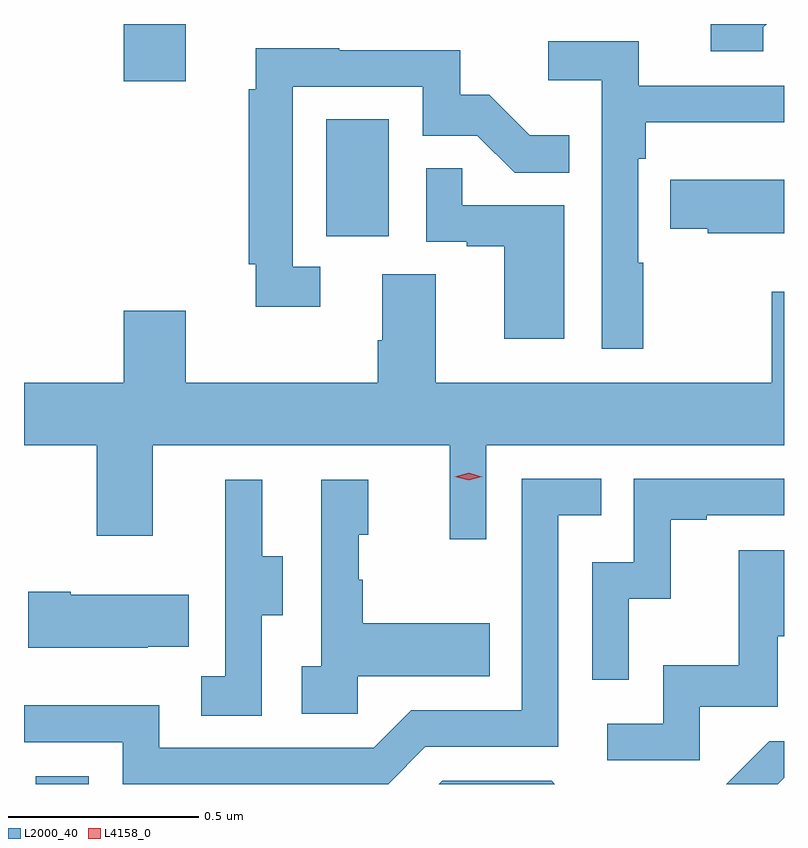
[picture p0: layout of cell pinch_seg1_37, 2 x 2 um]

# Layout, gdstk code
import gdstk
lib = gdstk.Library(unit=1e-6, precision=1e-09)
def R(c, l, rs):  # rectangles x0, y0, x1, y1
    for r in rs: c.add(gdstk.rectangle(r[:2], r[2:], *l))
def P(c, l, *ps):  # polygons
    for p in ps: c.add(gdstk.Polygon(p, *l))
L2000_40 = (2000, 40)
L4158_0 = (4158, 0)

pinch_seg1_37 = lib.new_cell('pinch_seg1_37')
R(pinch_seg1_37, L2000_40, [(1135.805,565.492,1135.944,565.512), (1136.57,566.934,1136.734,567.241), (1136.036,567.342,1136.2,567.492)])
P(pinch_seg1_37, L2000_40, [(1137.72,567.483),(1137.729,567.492),(1137.581,567.492),(1137.581,567.42),(1137.72,567.42)],
  [(1137.403,566.864),(1137.39,566.864),(1137.39,567.137),(1137.41,567.137),(1137.41,567.233),(1137.774,567.233),(1137.774,567.33),(1137.392,567.33),(1137.392,567.446),(1137.153,567.446),(1137.153,567.344),(1137.294,567.344),(1137.294,566.637),(1137.403,566.637)],
  [(1136.554,566.853),(1136.481,566.853),(1136.481,567.327),(1136.823,567.327),(1136.823,567.198),(1136.967,567.198),(1137.065,567.1),(1137.209,567.1),(1137.209,567.199),(1137.105,567.199),(1136.998,567.306),(1136.922,567.306),(1136.922,567.423),(1136.603,567.423),(1136.603,567.428),(1136.384,567.428),(1136.384,567.32),(1136.365,567.32),(1136.365,566.86),(1136.384,566.86),(1136.384,566.748),(1136.554,566.748)],
  [(1137.196,567.015),(1136.927,567.015),(1136.927,567.113),(1136.832,567.113),(1136.832,566.919),(1136.939,566.919),(1136.939,566.907),(1137.038,566.907),(1137.038,566.664),(1137.196,566.664)],
  [(1137.774,567.082),(1137.475,567.082),(1137.475,566.953),(1137.573,566.953),(1137.573,566.942),(1137.774,566.942)],
  [(1136.991,566.384),(1137.774,566.384),(1137.774,566.788),(1137.742,566.788),(1137.742,566.548),(1136.857,566.548),(1136.857,566.834),(1136.717,566.834),(1136.717,566.66),(1136.705,566.66),(1136.705,566.548),(1136.2,566.548),(1136.2,566.737),(1136.036,566.737),(1136.036,566.548),(1135.774,566.548),(1135.774,566.384),(1135.966,566.384),(1135.966,566.145),(1136.113,566.145),(1136.113,566.384),(1136.894,566.384),(1136.894,566.136),(1136.991,566.136)],
  [(1137.366,565.979),(1137.476,565.979),(1137.476,566.187),(1137.571,566.187),(1137.571,566.199),(1137.774,566.199),(1137.774,566.295),(1137.378,566.295),(1137.378,566.076),(1137.27,566.076),(1137.27,565.767),(1137.366,565.767)],
  [(1136.83,565.59),(1137.18,565.59),(1137.18,566.199),(1137.293,566.199),(1137.293,566.295),(1137.084,566.295),(1137.084,565.686),(1136.793,565.686),(1136.694,565.587),(1136.13,565.587),(1136.13,565.699),(1135.774,565.699),(1135.774,565.602),(1136.034,565.602),(1136.034,565.492),(1136.732,565.492)],
  [(1136.4,565.936),(1136.455,565.936),(1136.455,566.091),(1136.401,566.091),(1136.401,566.293),(1136.303,566.293),(1136.303,566.079),(1136.304,566.079),(1136.304,565.775),(1136.241,565.775),(1136.241,565.672),(1136.4,565.672)],
  [(1136.652,565.775),(1136.999,565.775),(1136.999,565.915),(1136.665,565.915),(1136.665,566.03),(1136.655,566.03),(1136.655,566.148),(1136.68,566.148),(1136.68,566.293),(1136.556,566.293),(1136.556,565.802),(1136.505,565.802),(1136.505,565.677),(1136.652,565.677)],
  [(1137.552,565.695),(1137.757,565.695),(1137.757,565.881),(1137.774,565.881),(1137.774,566.107),(1137.655,566.107),(1137.655,565.804),(1137.456,565.804),(1137.456,565.65),(1137.309,565.65),(1137.309,565.554),(1137.552,565.554)],
  [(1136.099,565.853),(1136.207,565.853),(1136.207,565.99),(1135.897,565.99),(1135.897,565.998),(1135.785,565.998),(1135.785,565.85),(1136.099,565.85)],
  [(1137.774,565.509),(1137.774,565.605),(1137.735,565.605),(1137.622,565.492),(1137.757,565.492)],
  [(1137.163,565.5),(1136.874,565.5),(1136.866,565.492),(1137.171,565.492)])
P(pinch_seg1_37, L4158_0, [(1136.944,566.291),(1136.908,566.301),(1136.907,566.301),(1136.908,566.301),(1136.944,566.311),(1136.979,566.301),(1136.98,566.301),(1136.979,566.301)])

lib.write_gds('pinch_seg1_37.gds')
